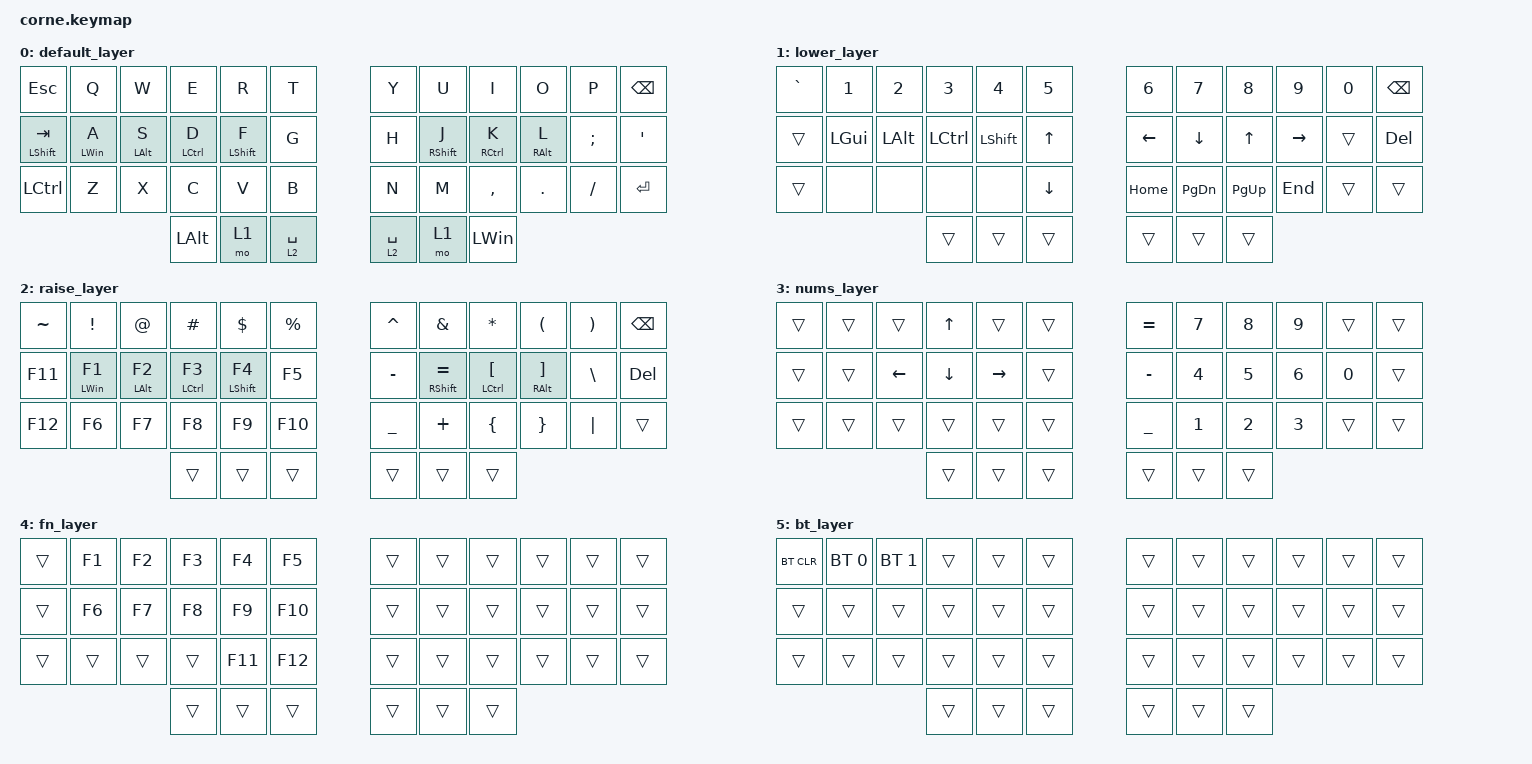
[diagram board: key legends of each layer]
/*
 * Copyright (c) 2020 The ZMK Contributors
 *
 * SPDX-License-Identifier: MIT
 */

#include <behaviors.dtsi>
#include <dt-bindings/zmk/bt.h>
#include <dt-bindings/zmk/keys.h>

/ {
    combos {
        compatible = "zmk,combos";

        combo_esc {
            timeout-ms = <50>;
            key-positions = <0 1>;
            bindings = <&kp ESC>;
        };

        CARS_COMBO {
            bindings = <&kp CAPS>;
            key-positions = <16 19>;
            layers = <0>;
        };

        lshift_lctrl {
            bindings = <&kp LC(LEFT_SHIFT)>;
            key-positions = <16 15>;
        };

        rshift_rctrl {
            bindings = <&kp RS(RCTRL)>;
            key-positions = <19 20>;
        };

        rshift_ralt {
            bindings = <&kp LS(LALT)>;
            key-positions = <16 14>;
        };

        lshift_lalt {
            bindings = <&kp RA(RIGHT_SHIFT)>;
            key-positions = <19 21>;
        };

        bt_layer_combo {
            bindings = <&mo 5>;
            key-positions = <37 38>;
        };
    };

    behaviors {
        ss_hs_modmorph: ss_hs_modmorph {
            compatible = "zmk,behavior-mod-morph";
            label = "SS_HS_MODMORPH";
            bindings = <&kp M>, <&kp RIGHT_BRACKET>;

            #binding-cells = <0>;
            mods = <(MOD_LSFT|MOD_RSFT)>;
        };

        kh_hs_tapdance: kh_hs_tapdance {
            compatible = "zmk,behavior-tap-dance";
            label = "KH_HS_TAPDANCE";
            #binding-cells = <0>;
            tapping-term-ms = <200>;
            bindings = <&kp LEFT_BRACKET>, <&kp RIGHT_BRACKET>;
        };

        hrm: hrm {
            compatible = "zmk,behavior-hold-tap";
            #binding-cells = <2>;
            flavor = "tap-preferred";
            tapping-term-ms = <150>;
            quick-tap-ms = <100>;
            require-prior-idle-ms = <50>;
            bindings = <&kp>, <&kp>;
        };

        alts_hrm: alts_hrm {
            compatible = "zmk,behavior-hold-tap";
            #binding-cells = <2>;
            bindings = <&kp>, <&kp>;

            hold-trigger-key-positions = <14 21>;
            tapping-term-ms = <200>;
            quick-tap-ms = <200>;
            require-prior-idle-ms = <125>;
        };
    };

    keymap {
        compatible = "zmk,keymap";

        default_layer {
            // -----------------------------------------------------------------------------------------
            // |  TAB |  Q  |  W  |  E  |  R  |  T  |   |  Y  |  U   |  I  |  O  |  P  | BKSP |
            // | CTRL |  A  |  S  |  D  |  F  |  G  |   |  H  |  J   |  K  |  L  |  ;  |  '   |
            // | SHFT |  Z  |  X  |  C  |  V  |  B  |   |  N  |  M   |  ,  |  .  |  /  | ESC  |
            //                    | GUI | LWR | SPC |   | ENT | RSE  | ALT |

            bindings = <
&kp ESCAPE      &kp Q                 &kp W                 &kp E         &kp R          &kp T          &kp Y        &kp U               &kp I         &kp O             &kp P          &kp BSPC
&hrm LSHFT TAB  &alts_hrm LEFT_WIN A  &alts_hrm LEFT_ALT S  &hrm LCTRL D  &hrm LSHIFT F  &kp G          &kp H        &hrm RIGHT_SHIFT J  &hrm RCTRL K  &alts_hrm RALT L  &kp SEMICOLON  &kp SQT
&kp LCTRL       &kp Z                 &kp X                 &kp C         &kp V          &kp B          &kp N        &kp M               &kp COMMA     &kp DOT           &kp FSLH       &kp ENTER
                                                            &kp LALT      &mo 1          &lt 2 SPACE    &lt 2 SPACE  &mo 1               &kp LEFT_WIN
            >;
        };

        lower_layer {
            // -----------------------------------------------------------------------------------------
            // |  TAB |  1  |  2  |  3  |  4  |  5  |   |  6  |  7  |  8  |  9  |  0  | BKSP |
            // | BTCLR| BT1 | BT2 | BT3 | BT4 | BT5 |   | LFT | DWN |  UP | RGT |     |      |
            // | SHFT |     |     |     |     |     |   |     |     |     |     |     |      |
            //                    | GUI |     | SPC |   | ENT |     | ALT |

            bindings = <
&kp GRAVE  &kp N1    &kp N2    &kp N3     &kp N4          &kp N5            &kp N6    &kp N7     &kp N8     &kp N9     &kp N0  &kp BACKSPACE
&trans     &kp LGUI  &kp LALT  &kp LCTRL  &kp LEFT_SHIFT  &kp UP_ARROW      &kp LEFT  &kp DOWN   &kp UP     &kp RIGHT  &trans  &kp DEL
&trans     &none     &none     &none      &none           &kp DOWN_ARROW    &kp HOME  &kp PG_DN  &kp PG_UP  &kp END    &trans  &trans
                               &trans     &trans          &trans            &trans    &trans     &trans
            >;
        };

        raise_layer {
            // -----------------------------------------------------------------------------------------
            // |  TAB |  !  |  @  |  #  |  $  |  %  |   |  ^  |  &  |  *  |  (  |  )  | BKSP |
            // | CTRL |     |     |     |     |     |   |  -  |  =  |  [  |  ]  |  \  |  `   |
            // | SHFT |     |     |     |     |     |   |  _  |  +  |  {  |  }  | "|" |  ~   |
            //                    | GUI |     | SPC |   | ENT |     | ALT |

            bindings = <
&kp TILDE  &kp EXCLAMATION    &kp AT_SIGN        &kp HASH       &kp DOLLAR     &kp PERCENT    &kp CARET  &kp AMPERSAND      &kp ASTERISK             &kp LEFT_PARENTHESIS          &kp RIGHT_PARENTHESIS  &kp BACKSPACE
&kp F11    &alts_hrm LWIN F1  &alts_hrm LALT F2  &hrm LCTRL F3  &hrm LSHFT F4  &kp F5         &kp MINUS  &hrm RSHIFT EQUAL  &hrm LCTRL LEFT_BRACKET  &alts_hrm RALT RIGHT_BRACKET  &kp BSLH               &kp DELETE
&kp F12    &kp F6             &kp F7             &kp F8         &kp F9         &kp F10        &kp UNDER  &kp PLUS           &kp LBRC                 &kp RBRC                      &kp PIPE               &trans
                                                 &trans         &trans         &trans         &trans     &trans             &trans
            >;
        };

        nums_layer {
            bindings = <
&trans  &trans  &trans          &kp UP_ARROW    &trans           &trans    &kp EQUAL  &kp N7  &kp N8  &kp N9  &trans  &trans
&trans  &trans  &kp LEFT_ARROW  &kp DOWN_ARROW  &kp RIGHT_ARROW  &trans    &kp MINUS  &kp N4  &kp N5  &kp N6  &kp N0  &trans
&trans  &trans  &trans          &trans          &trans           &trans    &kp UNDER  &kp N1  &kp N2  &kp N3  &trans  &trans
                                &trans          &trans           &trans    &trans     &trans  &trans
            >;
        };

        fn_layer {
            bindings = <
&trans  &kp F1  &kp F2  &kp F3  &kp F4   &kp F5     &trans  &trans  &trans  &trans  &trans  &trans
&trans  &kp F6  &kp F7  &kp F8  &kp F9   &kp F10    &trans  &trans  &trans  &trans  &trans  &trans
&trans  &trans  &trans  &trans  &kp F11  &kp F12    &trans  &trans  &trans  &trans  &trans  &trans
                        &trans  &trans   &trans     &trans  &trans  &trans
            >;
        };

        bt_layer {
            bindings = <
&bt BT_CLR  &bt BT_SEL 0  &bt BT_SEL 1  &trans  &trans  &trans    &trans  &trans  &trans  &trans  &trans  &trans
&trans      &trans        &trans        &trans  &trans  &trans    &trans  &trans  &trans  &trans  &trans  &trans
&trans      &trans        &trans        &trans  &trans  &trans    &trans  &trans  &trans  &trans  &trans  &trans
                                        &trans  &trans  &trans    &trans  &trans  &trans
            >;
        };
    };
};
